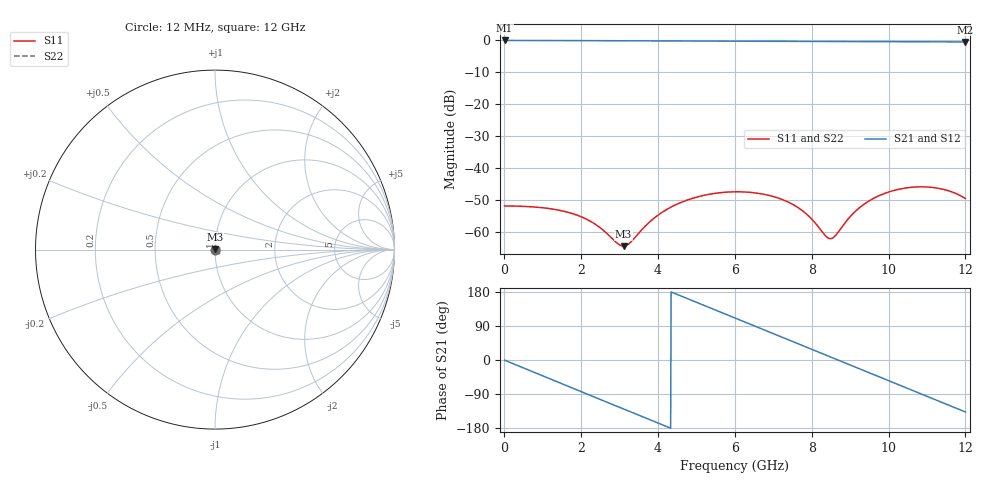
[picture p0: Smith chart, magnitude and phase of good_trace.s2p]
! 2-Port simulation of a MSL
# GHz S MA R 50
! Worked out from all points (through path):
!   1000 points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, 12 MHz to 12 GHz, reference 50 ohm
!   highest |S21| = -0.08 dB at 12 MHz (marker M1); lowest = -0.5 dB at 12 GHz (marker M2)
!   group delay of S21, straight-line fit = 115 ps
!   lowest |S11| = -64.3 dB at 3.108 GHz (marker M3), VSWR 1.00, Z = 50 + j0.0603 ohm
!   |S11| at or under -10 dB: start of sweep to end of sweep
!   |S22| runs from -64.3 to -45.8 dB; largest |S21 - S12| = 1.7e-06
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0.012  0.002582 179.3  0.9906 -0.5  0.9906 -0.5  0.00258 179.3
0.9  0.002458 129.8  0.9891 -37.6  0.9891 -37.6  0.002457 129.8
1.476  0.002189 100.8  0.9867 -61.6  0.9867 -61.6  0.002187 100.9
2.016  0.001739 78.1  0.9838 -84.0  0.9838 -84.0  0.001739 78.2
2.544  0.001124 65.6  0.9807 -106.0  0.9807 -106.0  0.001124 65.6
3.108  0.0006091 98.0  0.9774 -129.3  0.9774 -129.3  0.0006096 98.0
4.008  0.001867 130.9  0.9728 -166.5  0.9728 -166.5  0.001867 130.9
4.476  0.00272 118.5  0.9708 174.1  0.9708 174.1  0.002719 118.5
4.944  0.003461 103.4  0.9689 154.8  0.9689 154.8  0.003461 103.4
5.508  0.004083 84.1  0.9666 131.4  0.9666 131.4  0.004082 84.1
6.012  0.0043 66.8  0.9645 110.6  0.9645 110.6  0.0043 66.8
6.48  0.004168 51.0  0.9623 91.2  0.9623 91.2  0.004168 51.0
6.96  0.003685 35.6  0.9598 71.4  0.9598 71.4  0.003686 35.6
7.548  0.00265 19.5  0.9567 47.0  0.9567 47.0  0.002651 19.5
8.004  0.001609 15.0  0.9544 28.2  0.9544 28.2  0.001609 15.0
8.52  0.0008038 62.9  0.9519 6.9  0.9519 6.9  0.0008037 62.9
9.252  0.002447 99.2  0.9492 -23.3  0.9492 -23.3  0.002447 99.2
10.008  0.004277 78.1  0.9471 -54.6  0.9471 -54.6  0.004277 78.1
10.5  0.004979 60.1  0.9457 -74.9  0.9457 -74.9  0.004979 60.1
10.98  0.005118 41.3  0.9441 -94.8  0.9441 -94.8  0.005117 41.2
11.46  0.00464 21.6  0.942 -114.8  0.942 -114.8  0.004639 21.5
12  0.003373 -1.4  0.9389 -137.2  0.9389 -137.2  0.003373 -1.4
